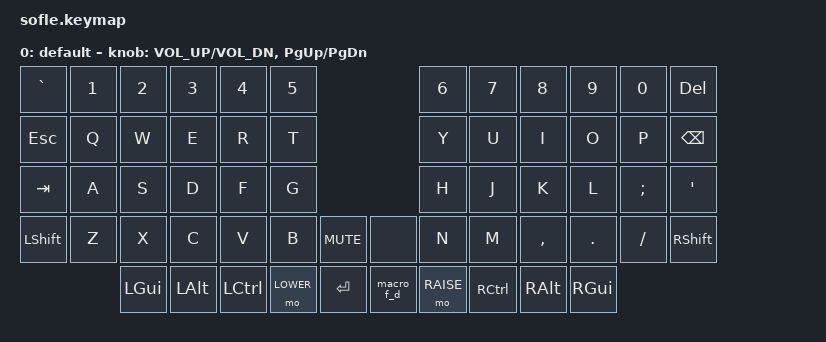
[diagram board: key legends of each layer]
/*
 * Copyright (c) 2020 The ZMK Contributors
 *
 * SPDX-License-Identifier: MIT
 */

#include <behaviors.dtsi>
#include <dt-bindings/zmk/bt.h>
#include <dt-bindings/zmk/ext_power.h>
#include <dt-bindings/zmk/keys.h>
#include <dt-bindings/zmk/rgb.h>

#define BASE 0
#define LOWER 1
#define RAISE 2
#define ADJUST 3

/ {
    // Activate ADJUST layer by pressing both LOWER and RAISE

    conditional_layers {
        compatible = "zmk,conditional-layers";

        adjust_layer {
            if-layers = <LOWER RAISE>;
            then-layer = <ADJUST>;
        };
    };

    behaviors {
        macro_f_d: macro_f_d {
            compatible = "zmk,behavior-macro";
            label = "MACRO_F_D";
            #binding-cells = <0>;
            bindings = <
                &kp F &kp D    // Press F and D at the same time
                &wait-ms 500   // Wait 0.5 second
                &kp D          // Press D again
            >;
        };
    };

    keymap {
        compatible = "zmk,keymap";

        default_layer {
            label = "default";

            // ------------------------------------------------------------------------------------------------------------
            // |   `   |  1  |  2  |  3   |  4   |  5   |                   |  6   |  7    |  8    |  9   |   0   |       |
            // |  ESC  |  Q  |  W  |  E   |  R   |  T   |                   |  Y   |  U    |  I    |  O   |   P   | BKSPC |
            // |  TAB  |  A  |  S  |  D   |  F   |  G   |                   |  H   |  J    |  K    |  L   |   ;   |   '   |
            // | SHIFT |  Z  |  X  |  C   |  V   |  B   |  MUTE  |  |       |  N   |  M    |  ,    |  .   |   /   | SHIFT |
            //               | GUI | ALT  | CTRL | LOWER|  ENTER |  |  MACRO | RAISE| CTRL  | ALT   | GUI  |

            bindings = <
&kp GRAVE  &kp N1  &kp N2    &kp N3    &kp N4     &kp N5                              &kp N6     &kp N7     &kp N8     &kp N9    &kp N0    &kp DELETE
&kp ESC    &kp Q   &kp W     &kp E     &kp R      &kp T                               &kp Y      &kp U      &kp I      &kp O     &kp P     &kp BSPC
&kp TAB    &kp A   &kp S     &kp D     &kp F      &kp G                               &kp H      &kp J      &kp K      &kp L     &kp SEMI  &kp SQT
&kp LSHFT  &kp Z   &kp X     &kp C     &kp V      &kp B      &kp C_MUTE    &none      &kp N      &kp M      &kp COMMA  &kp DOT   &kp FSLH  &kp RSHFT
                   &kp LGUI  &kp LALT  &kp LCTRL  &mo LOWER  &kp RET       &macro_f_d &mo RAISE  &kp RCTRL  &kp RALT   &kp RGUI
            >;

            sensor-bindings = <&inc_dec_kp C_VOL_UP C_VOL_DN &inc_dec_kp PG_UP PG_DN>;
        };

        lower_layer {
            label = "lower";
            // ... unchanged
        };

        raise_layer {
            label = "raise";
            // ... unchanged
        };

        adjust_layer {
            label = "adjust";
            // ... unchanged
        };
    };
};
